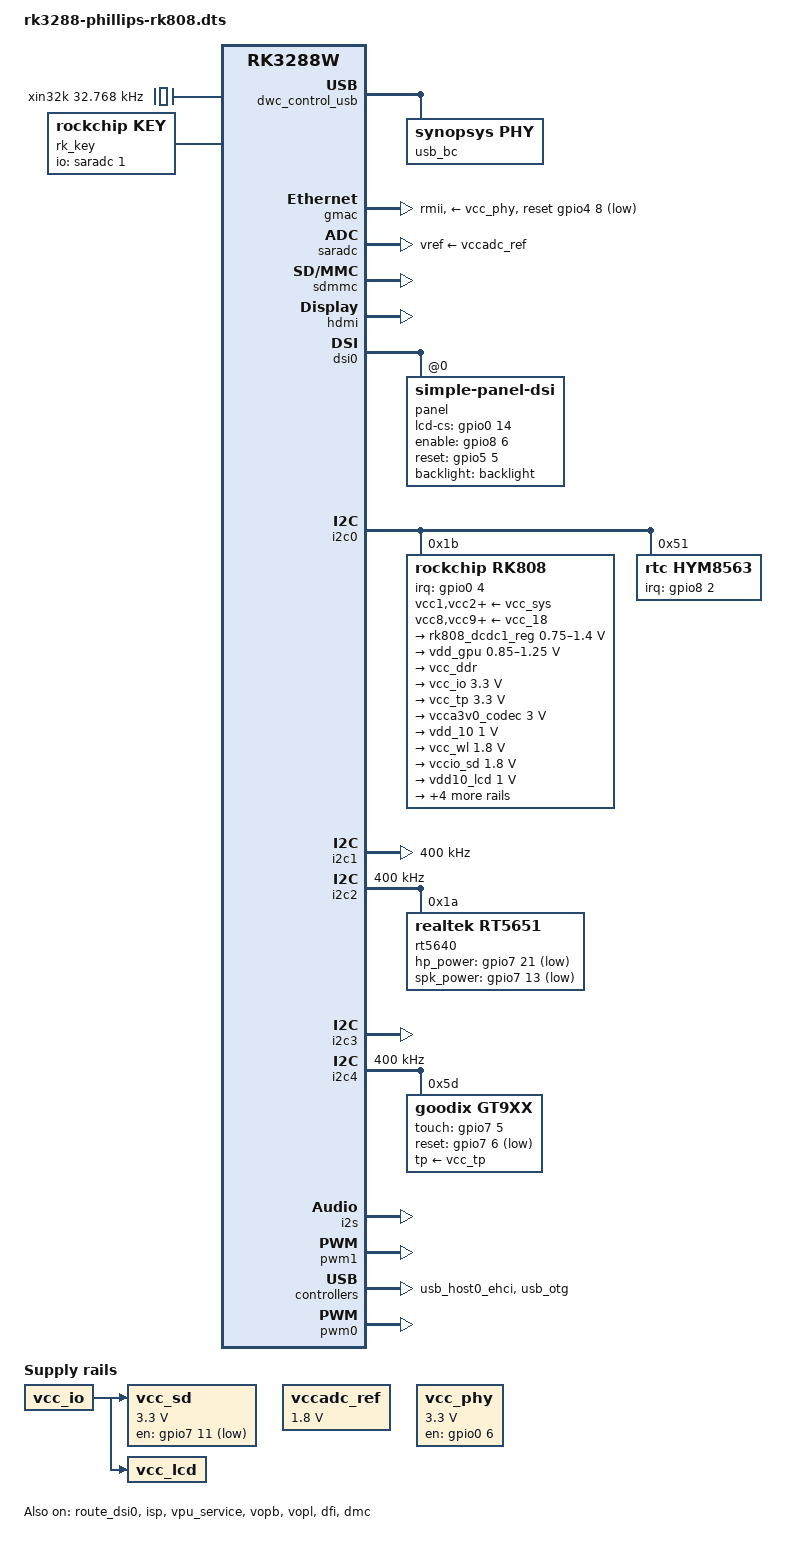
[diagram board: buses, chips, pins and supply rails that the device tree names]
/*
 * Copyright (c) 2017 Fuzhou Rockchip Electronics Co., Ltd
 *
 * This file is dual-licensed: you can use it either under the terms
 * of the GPL or the X11 license, at your option. Note that this dual
 * licensing only applies to this file, and not this project as a
 * whole.
 *
 *  a) This file is free software; you can redistribute it and/or
 *     modify it under the terms of the GNU General Public License as
 *     published by the Free Software Foundation; either version 2 of the
 *     License, or (at your option) any later version.
 *
 *     This file is distributed in the hope that it will be useful,
 *     but WITHOUT ANY WARRANTY; without even the implied warranty of
 *     MERCHANTABILITY or FITNESS FOR A PARTICULAR PURPOSE.  See the
 *     GNU General Public License for more details.
 *
 * Or, alternatively,
 *
 *  b) Permission is hereby granted, free of charge, to any person
 *     obtaining a copy of this software and associated documentation
 *     files (the "Software"), to deal in the Software without
 *     restriction, including without limitation the rights to use,
 *     copy, modify, merge, publish, distribute, sublicense, and/or
 *     sell copies of the Software, and to permit persons to whom the
 *     Software is furnished to do so, subject to the following
 *     conditions:
 *
 *     The above copyright notice and this permission notice shall be
 *     included in all copies or substantial portions of the Software.
 *
 *     THE SOFTWARE IS PROVIDED "AS IS", WITHOUT WARRANTY OF ANY KIND,
 *     EXPRESS OR IMPLIED, INCLUDING BUT NOT LIMITED TO THE WARRANTIES
 *     OF MERCHANTABILITY, FITNESS FOR A PARTICULAR PURPOSE AND
 *     NONINFRINGEMENT. IN NO EVENT SHALL THE AUTHORS OR COPYRIGHT
 *     HOLDERS BE LIABLE FOR ANY CLAIM, DAMAGES OR OTHER LIABILITY,
 *     WHETHER IN AN ACTION OF CONTRACT, TORT OR OTHERWISE, ARISING
 *     FROM, OUT OF OR IN CONNECTION WITH THE SOFTWARE OR THE USE OR
 *     OTHER DEALINGS IN THE SOFTWARE.
 */

/dts-v1/;
#include <dt-bindings/input/input.h>
#include <dt-bindings/pwm/pwm.h>
#include <dt-bindings/display/media-bus-format.h>
#include <dt-bindings/gpio/gpio.h>
#include <dt-bindings/power/rk3288-power.h>
#include "rk3288-phillips.dtsi"
#include "rk3288-android.dtsi"

/ {
	compatible = "rockchip,rk3288-tpv-eposter-rk808", "rockchip,rk3288w";

	chosen {
		bootargs = "earlycon=uart8250,mmio32,0xff690000 vmalloc=496M";
	};

	sdio_pwrseq: sdio-pwrseq {
		clocks = <&rk808 1>;
	};

	wireless-bluetooth {
		clocks = <&rk808 1>;
		clock-names = "ext_clock";
	};

	/delete-node/ sdmmc-regulator;
	vcc_sd: sdmmc-regulator {
		compatible = "regulator-fixed";
		gpio = <&gpio7 11 GPIO_ACTIVE_LOW>;
		pinctrl-names = "default";
		pinctrl-0 = <&sdmmc_pwr>;
		regulator-name = "vcc_sd";
		regulator-min-microvolt = <3300000>;
		regulator-max-microvolt = <3300000>;
		startup-delay-us = <100000>;
		vin-supply = <&vcc_io>;
	};

	vcc_lcd: vcc-lcd {
		compatible = "regulator-fixed";
		regulator-boot-on;
		enable-active-high;
		pinctrl-names = "default";
		pinctrl-0 = <&lcd_en>;
		regulator-name = "vcc_lcd";
		vin-supply = <&vcc_io>;
	};

	sound: sound {
		status = "okay";
		compatible = "simple-audio-card";
		simple-audio-card,format = "i2s";
		simple-audio-card,name = "rockchip,rt5651-codec";
		simple-audio-card,mclk-fs = <512>;
		simple-audio-card,widgets =
			"Microphone", "Mic Jack",
			"Headphone", "Headphone Jack",
			"Speaker", "Speaker";
		simple-audio-card,routing =
			"Mic Jack", "MICBIAS1",
			"IN1P", "Mic Jack",
			"Headphone Jack", "HPOL",
			"Headphone Jack", "HPOR",
			"Speaker", "LOUTL",
			"Speaker", "LOUTR";

		simple-audio-card,dai-link@0 {
			format = "i2s";
			cpu {
				sound-dai = <&i2s>;
			};

			codec {
				sound-dai = <&rt5651>;
			};
		};

		simple-audio-card,dai-link@1 {
			format = "i2s";
			cpu {
				sound-dai = <&i2s>;
			};

			codec {
				sound-dai = <&hdmi>;
			};
		};
	};

	spdif-sound {
		status = "okay";
		compatible = "simple-audio-card";
		simple-audio-card,name = "ROCKCHIP,SPDIF";
		simple-audio-card,cpu {
			sound-dai = <&spdif>;
		};
		simple-audio-card,codec {
			sound-dai = <&spdif_out>;
		};
	};

	backlight: backlight {
		pwms = <&pwm1 0 1000000 0>;
	};

	reserved-memory {
		ramoops_mem: ramoops@00000000 {
			reg = <0x0 0x8000000 0x0 0xF0000>;
		};

		drm_logo: drm-logo@00000000 {
			compatible = "rockchip,drm-logo";
			reg = <0x0 0x0 0x0 0x0>;
		};
	};

	ramoops {
		compatible = "ramoops";
		record-size = <0x0 0x20000>;
		console-size = <0x0 0x80000>;
		ftrace-size = <0x0 0x00000>;
		pmsg-size = <0x0 0x50000>;
		memory-region = <&ramoops_mem>;
	};

	fiq-debugger {
		compatible = "rockchip,fiq-debugger";
		interrupts = <GIC_SPI 153 IRQ_TYPE_LEVEL_HIGH>;
		rockchip,serial-id = <2>;
		rockchip,wake-irq = <0>;
		/* If enable uart uses irq instead of fiq */
		rockchip,irq-mode-enable = <1>;
		rockchip,baudrate = <115200>;  /* Only 115200 and 1500000 */
		pinctrl-names = "default";
		pinctrl-0 = <&uart2_xfer>;
	};

	xin32k: xin32k {
		compatible = "fixed-clock";
		clock-frequency = <32768>;
		clock-output-names = "xin32k";
		#clock-cells = <0>;
	};

	vccadc_ref: vccadc-ref {
		compatible = "regulator-fixed";
		regulator-name = "vcc1v8_sys";
		regulator-always-on;
		regulator-boot-on;
		regulator-min-microvolt = <1800000>;
		regulator-max-microvolt = <1800000>;
	};

	/* This turns on USB vbus for both host0 (ehci) and host1 (dwc2) */

	vcc_phy: vcc-phy-regulator {
		compatible = "regulator-fixed";
		enable-active-high;
		gpio = <&gpio0 6 GPIO_ACTIVE_HIGH>;
		pinctrl-names = "default";
		pinctrl-0 = <&eth_phy_pwr>;
		regulator-name = "vcc_phy";
		regulator-min-microvolt = <3300000>;
		regulator-max-microvolt = <3300000>;
		regulator-always-on;
		regulator-boot-on;
	};

	/*
	 * NOTE: vcc_sd isn't hooked up on v1.0 boards where power comes from
	 * vcc_io directly.  Those boards won't be able to power cycle SD cards
	 * but it shouldn't hurt to toggle this pin there anyway.
	 */

	wireless-bluetooth {
		clocks = <&hym8563>;
		clock-names = "ext_clock";
	};

	psci {
		compatible = "arm,psci-1.0";
		method = "smc";
	};

	rk_key: rockchip-key {
		compatible = "rockchip,key";
		status = "okay";

		io-channels = <&saradc 1>;

		vol-up-key {
			linux,code = <115>;
			label = "volume up";
			rockchip,adc_value = <1>;
		};

		vol-down-key {
			linux,code = <114>;
			label = "volume down";
			rockchip,adc_value = <170>;
		};

		power-key {
			gpios = <&gpio0 5 GPIO_ACTIVE_LOW>;
			linux,code = <116>;
			pinctrl-names = "default";
			pinctrl-0 = <&pwrbtn>;
			label = "power";
			gpio-key,wakeup;
		};

		menu-key {
			linux,code = <59>;
			label = "menu";
			rockchip,adc_value = <355>;
		};

		home-key {
			linux,code = <102>;
			label = "home";
			rockchip,adc_value = <746>;
		};

		back-key {
			linux,code = <158>;
			label = "back";
			rockchip,adc_value = <560>;
		};

		camera-key {
			linux,code = <212>;
			label = "camera";
			rockchip,adc_value = <450>;
		};
	};

	dwc_control_usb: dwc-control-usb@ff770284 {
		compatible = "rockchip,rk3288-dwc-control-usb";
		status = "okay";
		reg = <0x0 0xff770284 0x0 0x04>, <0x0 0xff770288 0x0 0x04>,
			<0x0 0xff7702cc 0x0 0x04>, <0x0 0xff7702d4 0x0 0x04>,
			<0x0 0xff770320 0x0 0x14>, <0x0 0xff770334 0x0 0x14>,
			<0x0 0xff770348 0x0 0x10>, <0x0 0xff770358 0x0 0x08>,
			<0x0 0xff770360 0x0 0x08>;
		reg-names = "GRF_SOC_STATUS1" ,"GRF_SOC_STATUS2",
					"GRF_SOC_STATUS19", "GRF_SOC_STATUS21",
					"GRF_UOC0_BASE", "GRF_UOC1_BASE",
					"GRF_UOC2_BASE", "GRF_UOC3_BASE",
					"GRF_UOC4_BASE";
		interrupts = <GIC_SPI 93 IRQ_TYPE_LEVEL_HIGH>,
					<GIC_SPI 94 IRQ_TYPE_LEVEL_HIGH>,
					<GIC_SPI 95 IRQ_TYPE_LEVEL_HIGH>,
					<GIC_SPI 96 IRQ_TYPE_LEVEL_HIGH>,
					<GIC_SPI 97 IRQ_TYPE_LEVEL_HIGH>;
		interrupt-names = "otg_id", "otg_bvalid",
					"otg_linestate", "host0_linestate",
					"host1_linestate";
		clocks = <&cru HCLK_USB_PERI>;
		clock-names = "hclk_usb_peri";

		otg_drv_gpio = <&gpio0 12 GPIO_ACTIVE_HIGH>;
		rockchip,remote_wakeup;
		rockchip,usb_irq_wakeup;

		usb_bc {
			compatible = "synopsys,phy";
			rk_usb,bvalid     = <0x288 14 1>;
			rk_usb,iddig      = <0x288 17 1>;
			rk_usb,dcdenb     = <0x328 14 1>;
			rk_usb,vdatsrcenb = <0x328  7 1>;
			rk_usb,vdatdetenb = <0x328  6 1>;
			rk_usb,chrgsel    = <0x328  5 1>;
			rk_usb,chgdet     = <0x2cc 23 1>;
			rk_usb,fsvminus   = <0x2cc 25 1>;
			rk_usb,fsvplus    = <0x2cc 24 1>;
		};
	};

	/delete-node/ usb-otg-regulator;

};

&ir{
	/delete-property/ pinctrl-0;
};

&gmac {
	phy-supply = <&vcc_phy>;
	phy-mode = "rmii";
	pinctrl-0 = <&rmii_pins>;
	snps,reset-gpio = <&gpio4 8 GPIO_ACTIVE_LOW>;
	snps,reset-active-low;
	snps,reset-delays-us = <0 10000 50000>;
	max-speed = <100>;
	status = "okay";
};

&saradc {
	vref-supply = <&vccadc_ref>;
	status = "okay";
};

&sdmmc {
	supports-sd;
	max-frequency = <150000000>;
	sd-uhs-sdr12;
	sd-uhs-sdr25;
	sd-uhs-sdr50;
	sd-uhs-sdr104;
	pinctrl-0 = <&sdmmc_clk &sdmmc_cmd &sdmmc_cd &sdmmc_bus4>;
	status = "okay";
};

&hdmi {
	status = "okay";
};

&edp {
	status = "disabled";
};

&edp_panel {
	status = "disabled";
};

&route_edp {
	status = "disabled";
};

&dsi0 {
	status = "okay";
	rockchip,grf = <&grf>;
	rockchip,gpios = <&gpio7 13 GPIO_ACTIVE_LOW>;
	power-domains = <&power RK3288_PD_VIO>;
	pinctrl-names = "default";
	pinctrl-0 = <&dsi_panel_pins>;
	#address-cells = <1>;
	#size-cells = <0>;

	panel@0 {
		compatible = "simple-panel-dsi";
		reg = <0>;
		backlight = <&backlight>;
		lcd-cs-gpios = <&gpio0 14 GPIO_ACTIVE_HIGH>;
		cs-gpios = <&gpio8 7 GPIO_ACTIVE_LOW>;
		enable-gpios = <&gpio8 6 GPIO_ACTIVE_HIGH>;
		reset-gpios = <&gpio5 5 GPIO_ACTIVE_HIGH>;
		dsi,flags = <0xa03>;
		dsi,format = <0>;
		dsi,lanes = <4>;
		reset-delay-ms = <20>;
		init-delay-ms = <120>;
		enable-delay-ms = <120>;
		prepare-delay-ms = <20>;
		unprepare-delay-ms = <120>;
		disable-delay-ms = <120>;
		status = "okay";

		panel-init-sequence = [15 00 02 e0 00 15 00 02 e1 93 15 00 02 e2 65 15 00 02 e3 f8 15 00 02 80 03 15 00 02 e0 01 15 00 02 01 67 15 00 02 17 00 15 00 02 18 bf 15 00 02 19 01 15 00 02 1a 00 15 00 02 1b bf 15 00 02 1c 01 15 00 02 0c 74 15 00 02 1f 70 15 00 02 20 2d 15 00 02 21 2d 15 00 02 22 7e 15 00 02 0c 74 15 00 02 35 28 15 00 02 37 19 15 00 02 38 05 15 00 02 39 00 15 00 02 3a 01 15 00 02 3c 7c 15 00 02 3d ff 15 00 02 3e ff 15 00 02 3f 7f 15 00 02 40 06 15 00 02 41 a0 15 00 02 43 1e 15 00 02 44 0b 15 00 02 45 28 15 00 02 55 01 15 00 02 57 a9 15 00 02 59 0a 15 00 02 5a 2e 15 00 02 5b 1a 15 00 02 5c 15 15 00 02 5d 7f 15 00 02 5e 64 15 00 02 5f 53 15 00 02 60 47 15 00 02 61 43 15 00 02 62 33 15 00 02 63 37 15 00 02 64 21 15 00 02 65 39 15 00 02 66 37 15 00 02 67 34 15 00 02 68 50 15 00 02 69 3d 15 00 02 6a 44 15 00 02 6b 36 15 00 02 6c 34 15 00 02 6d 25 15 00 02 6e 15 15 00 02 6f 02 15 00 02 70 7f 15 00 02 71 64 15 00 02 72 53 15 00 02 73 47 15 00 02 74 43 15 00 02 75 33 15 00 02 76 37 15 00 02 77 21 15 00 02 78 39 15 00 02 79 37 15 00 02 7a 34 15 00 02 7b 50 15 00 02 7c 3d 15 00 02 7d 44 15 00 02 7e 36 15 00 02 7f 34 15 00 02 80 25 15 00 02 81 15 15 00 02 82 02 15 00 02 e0 02 15 00 02 00 52 15 00 02 01 55 15 00 02 02 55 15 00 02 03 50 15 00 02 04 77 15 00 02 05 57 15 00 02 06 55 15 00 02 07 4e 15 00 02 08 4c 15 00 02 09 5f 15 00 02 0a 4a 15 00 02 0b 48 15 00 02 0c 55 15 00 02 0d 46 15 00 02 0e 44 15 00 02 0f 40 15 00 02 10 55 15 00 02 11 55 15 00 02 12 55 15 00 02 13 55 15 00 02 14 55 15 00 02 15 55 15 00 02 16 53 15 00 02 17 55 15 00 02 18 55 15 00 02 19 51 15 00 02 1a 77 15 00 02 1b 57 15 00 02 1c 55 15 00 02 1d 4f 15 00 02 1e 4d 15 00 02 1f 5f 15 00 02 20 4b 15 00 02 21 49 15 00 02 22 55 15 00 02 23 47 15 00 02 24 45 15 00 02 25 41 15 00 02 26 55 15 00 02 27 55 15 00 02 28 55 15 00 02 29 55 15 00 02 2a 55 15 00 02 2b 55 15 00 02 2c 13 15 00 02 2d 15 15 00 02 2e 15 15 00 02 2f 01 15 00 02 30 37 15 00 02 31 17 15 00 02 32 15 15 00 02 33 0d 15 00 02 34 0f 15 00 02 35 15 15 00 02 36 05 15 00 02 37 07 15 00 02 38 15 15 00 02 39 09 15 00 02 3a 0b 15 00 02 3b 11 15 00 02 3c 15 15 00 02 3d 15 15 00 02 3e 15 15 00 02 3f 15 15 00 02 40 15 15 00 02 41 15 15 00 02 42 12 15 00 02 43 15 15 00 02 44 15 15 00 02 45 00 15 00 02 46 37 15 00 02 47 17 15 00 02 48 15 15 00 02 49 0c 15 00 02 4a 0e 15 00 02 4b 15 15 00 02 4c 04 15 00 02 4d 06 15 00 02 4e 15 15 00 02 4f 08 15 00 02 50 0a 15 00 02 51 10 15 00 02 52 15 15 00 02 53 15 15 00 02 54 15 15 00 02 55 15 15 00 02 56 15 15 00 02 57 15 15 00 02 58 40 15 00 02 5b 10 15 00 02 5c 06 15 00 02 5d 40 15 00 02 5e 00 15 00 02 5f 00 15 00 02 60 40 15 00 02 61 03 15 00 02 62 04 15 00 02 63 6c 15 00 02 64 6c 15 00 02 65 75 15 00 02 66 08 15 00 02 67 b4 15 00 02 68 08 15 00 02 69 6c 15 00 02 6a 6c 15 00 02 6b 0c 15 00 02 6d 00 15 00 02 6e 00 15 00 02 6f 88 15 00 02 75 bb 15 00 02 76 00 15 00 02 77 05 15 00 02 78 2a 15 00 02 e0 04 15 00 02 09 11 15 00 02 0e 48 15 00 02 2b 2b 15 00 02 2d 03 15 00 02 2e 44 15 00 02 e0 05 15 00 02 12 72 15 00 02 e0 00 15 00 02 e6 02 15 00 02 e7 0c 05 00 01 11 05 78 01 29];

		panel-init-sequence-second = [39 00 04 ff 98 81 03 15 00 02 01 00 15 00 02 02 00 15 00 02 03 53 15 00 02 04 53 15 00 02 05 13 15 00 02 06 04 15 00 02 07 02 15 00 02 08 02 15 00 02 09 00 15 00 02 0a 00 15 00 02 0b 00 15 00 02 0c 00 15 00 02 0d 00 15 00 02 0e 00 15 00 02 0f 00 15 00 02 10 00 15 00 02 11 00 15 00 02 12 00 15 00 02 13 00 15 00 02 14 00 15 00 02 15 05 15 00 02 16 05 15 00 02 17 03 15 00 02 18 03 15 00 02 19 00 15 00 02 1a 00 15 00 02 1b 00 15 00 02 1c 00 15 00 02 1d 00 15 00 02 1e c0 15 00 02 1f 00 15 00 02 20 02 15 00 02 21 09 15 00 02 22 00 15 00 02 23 00 15 00 02 24 00 15 00 02 25 00 15 00 02 26 00 15 00 02 27 00 15 00 02 28 55 15 00 02 29 03 15 00 02 2a 00 15 00 02 2b 00 15 00 02 2c 00 15 00 02 2d 00 15 00 02 2e 00 15 00 02 2f 00 15 00 02 30 00 15 00 02 31 00 15 00 02 32 00 15 00 02 33 00 15 00 02 34 00 15 00 02 35 00 15 00 02 36 00 15 00 02 37 00 15 00 02 38 3c 15 00 02 39 00 15 00 02 3a 00 15 00 02 3b 00 15 00 02 3c 00 15 00 02 3d 00 15 00 02 3e 00 15 00 02 3f 00 15 00 02 40 00 15 00 02 41 00 15 00 02 42 00 15 00 02 43 00 15 00 02 44 00 15 00 02 50 01 15 00 02 51 23 15 00 02 52 45 15 00 02 53 67 15 00 02 54 89 15 00 02 55 ab 15 00 02 56 01 15 00 02 57 23 15 00 02 58 45 15 00 02 59 67 15 00 02 5a 89 15 00 02 5b ab 15 00 02 5c cd 15 00 02 5d ef 15 00 02 5e 01 15 00 02 5f 0a 15 00 02 60 02 15 00 02 61 02 15 00 02 62 08 15 00 02 63 15 15 00 02 64 14 15 00 02 65 02 15 00 02 66 11 15 00 02 67 10 15 00 02 68 02 15 00 02 69 0f 15 00 02 6a 0e 15 00 02 6b 02 15 00 02 6c 0d 15 00 02 6d 0c 15 00 02 6e 06 15 00 02 6f 02 15 00 02 70 02 15 00 02 71 02 15 00 02 72 02 15 00 02 73 02 15 00 02 74 02 15 00 02 75 0a 15 00 02 76 02 15 00 02 77 02 15 00 02 78 06 15 00 02 79 15 15 00 02 7a 14 15 00 02 7b 02 15 00 02 7c 10 15 00 02 7d 11 15 00 02 7e 02 15 00 02 7f 0c 15 00 02 80 0d 15 00 02 81 02 15 00 02 82 0e 15 00 02 83 0f 15 00 02 84 08 15 00 02 85 02 15 00 02 86 02 15 00 02 87 02 15 00 02 88 02 15 00 02 89 02 15 00 02 8a 02 39 00 04 ff 98 81 04 15 00 02 6c 15 15 00 02 6e 30 15 00 02 6f 35 15 00 02 8d 1f 15 00 02 3a 24 15 00 02 35 1f 15 00 02 87 ba 15 00 02 26 76 15 00 02 b2 d1 15 00 02 b5 07 15 00 02 88 0b 15 00 02 21 30 39 00 04 ff 98 81 01 15 00 02 22 0a 15 00 02 31 09 15 00 02 40 33 15 00 02 42 44 15 00 02 53 2e 15 00 02 55 88 15 00 02 50 95 15 00 02 51 95 15 00 02 60 09 15 00 02 2e c8 15 00 02 35 07 15 00 02 a0 0f 15 00 02 a1 1d 15 00 02 a2 2a 15 00 02 a3 14 15 00 02 a4 16 15 00 02 a5 29 15 00 02 a6 1d 15 00 02 a7 1e 15 00 02 a8 83 15 00 02 a9 1e 15 00 02 aa 2b 15 00 02 ab 6f 15 00 02 ac 18 15 00 02 ad 17 15 00 02 ae 4c 15 00 02 af 22 15 00 02 b0 27 15 00 02 b1 4d 15 00 02 b2 5c 15 00 02 b3 2b 15 00 02 c0 0f 15 00 02 c1 1d 15 00 02 c2 2a 15 00 02 c3 14 15 00 02 c4 16 15 00 02 c5 29 15 00 02 c6 1d 15 00 02 c7 1e 15 00 02 c8 83 15 00 02 c9 1e 15 00 02 ca 2b 15 00 02 cb 6f 15 00 02 cc 18 15 00 02 cd 17 15 00 02 ce 4c 15 00 02 cf 22 15 00 02 d0 27 15 00 02 d1 4d 15 00 02 d2 5c 15 00 02 d3 2b 39 00 04 ff 98 81 00 15 00 02 35 00 05 78 01 11 05 14 01 29];

		panel-exit-sequence = [05 05 01 28 05 78 01 10];

		display-timings {
			native-mode = <&timing0>;

			timing0: timing0 {
				clock-frequency = <72000000>;
				hactive = <800>;
				vactive = <1280>;
				hback-porch = <20>;
				hfront-porch = <62>;
				hsync-len = <20>;
				vback-porch = <8>;
				vfront-porch = <30>;
				vsync-len = <4>;
				hsync-active = <0>;
				vsync-active = <0>;
				de-active = <0>;
				pixelclk-active = <0>;
			};
		};
	};
};

&route_dsi0 {
	status = "okay";
	connect = <&vopb_out_dsi0>;
};

&i2c0{
	/delete-node/ syr828@41;
	/delete-node/ act8846@5a;
};

&i2c0 {
	rk808: pmic@1b {
		compatible = "rockchip,rk808";
		reg = <0x1b>;
		interrupt-parent = <&gpio0>;
		interrupts = <4 IRQ_TYPE_LEVEL_LOW>;
		pinctrl-names = "default";
		pinctrl-0 = <&pmic_int &global_pwroff>;
		//pinctrl-0 = <&pmic_vsel>, <&pwr_hold>;
		rockchip,system-power-controller;
		wakeup-source;
		#clock-cells = <1>;
		clock-output-names = "rk808-clkout1", "rk808-clkout2";
		vcc1-supply = <&vcc_sys>;
		vcc2-supply = <&vcc_sys>;
		vcc3-supply = <&vcc_sys>;
		vcc4-supply = <&vcc_sys>;
		vcc6-supply = <&vcc_sys>;
		vcc7-supply = <&vcc_sys>;
		vcc8-supply = <&vcc_18>;
		vcc9-supply = <&vcc_18>;
		vcc11-supply = <&vcc_sys>;
		vcc12-supply = <&vcc_18>;
		vddio-supply = <&vcc_18>;

		regulators {
			rk808_dcdc1_reg: DCDC_REG1 {
				regulator-always-on;
				regulator-boot-on;
				regulator-min-microvolt = <750000>;
				regulator-max-microvolt = <1400000>;
				regulator-name = "vdd_arm";
				regulator-state-mem {
					regulator-off-in-suspend;
				};
			};

			vdd_gpu: DCDC_REG2 {
				regulator-always-on;
				regulator-boot-on;
				regulator-min-microvolt = <850000>;
				regulator-max-microvolt = <1250000>;
				regulator-name = "vdd_gpu";
				regulator-ramp-delay = <6000>;
				regulator-state-mem {
					regulator-off-in-suspend;
				};
			};

			vcc_ddr: DCDC_REG3 {
				regulator-always-on;
				regulator-boot-on;
				regulator-name = "vcc_ddr";
				regulator-state-mem {
					regulator-on-in-suspend;
				};
			};

			vcc_io: DCDC_REG4 {
				regulator-always-on;
				regulator-boot-on;
				regulator-min-microvolt = <3300000>;
				regulator-max-microvolt = <3300000>;
				regulator-name = "vcc_io";
				regulator-state-mem {
					regulator-on-in-suspend;
					regulator-suspend-microvolt = <3300000>;
				};
			};

			vcc_tp: LDO_REG1 {
				regulator-always-on;
				regulator-boot-on;
				regulator-min-microvolt = <3300000>;
				regulator-max-microvolt = <3300000>;
				regulator-name = "vcc_tp";
				regulator-state-mem {
					regulator-off-in-suspend;
				};
			};

			vcca3v0_codec: LDO_REG2 {
				regulator-always-on;
				regulator-boot-on;
				regulator-min-microvolt = <3000000>;
				regulator-max-microvolt = <3000000>;
				regulator-name = "vcca3v0_codec";
				regulator-state-mem {
					regulator-on-in-suspend;
					regulator-suspend-microvolt = <3000000>;
				};
			};

			vdd_10: LDO_REG3 {
				regulator-always-on;
				regulator-boot-on;
				regulator-min-microvolt = <1000000>;
				regulator-max-microvolt = <1000000>;
				regulator-name = "vdd_10";
				regulator-state-mem {
					regulator-on-in-suspend;
					regulator-suspend-microvolt = <1000000>;
				};
			};

			vcc_wl: LDO_REG4 {
				regulator-always-on;
				regulator-boot-on;
				regulator-min-microvolt = <1800000>;
				regulator-max-microvolt = <1800000>;
				regulator-name = "vcc_wl";
				regulator-state-mem {
					regulator-on-in-suspend;
				};
			};

			vccio_sd: LDO_REG5 {
				regulator-always-on;
				regulator-boot-on;
				regulator-min-microvolt = <1800000>;
				regulator-max-microvolt = <1800000>;
				regulator-name = "vccio_sd";
				regulator-state-mem {
					regulator-off-in-suspend;
				};
			};

			vdd10_lcd: LDO_REG6 {
				regulator-always-on;
				regulator-boot-on;
				regulator-min-microvolt = <1000000>;
				regulator-max-microvolt = <1000000>;
				regulator-name = "vdd10_lcd";
				regulator-state-mem {
					regulator-off-in-suspend;
				};
			};

			vcc_18: LDO_REG7 {
				regulator-always-on;
				regulator-boot-on;
				regulator-min-microvolt = <1800000>;
				regulator-max-microvolt = <1800000>;
				regulator-name = "vcc_18";
				regulator-state-mem {
					regulator-on-in-suspend;
					regulator-suspend-microvolt = <1800000>;
				};
			};

			vcc_lan: vcc18_lcd: LDO_REG8 {
				regulator-always-on;
				regulator-boot-on;
				regulator-min-microvolt = <1800000>;
				regulator-max-microvolt = <1800000>;
				regulator-name = "vcc18_lcd";
				regulator-state-mem {
					regulator-off-in-suspend;
				};
			};

			vccio_wl: SWITCH_REG1 {
				regulator-always-on;
				regulator-boot-on;
				regulator-name = "vcc_18";
				regulator-min-microvolt = <1800000>;
				regulator-max-microvolt = <1800000>;
				regulator-state-mem {
					regulator-on-in-suspend;
				};
			};

			rk808_ldo10_reg: SWITCH_REG2 {
				regulator-always-on;
				regulator-boot-on;
				regulator-name = "vcc_sd";
				regulator-min-microvolt = <3300000>;
				regulator-max-microvolt = <3300000>;
				regulator-state-mem {
					regulator-off-in-suspend;
				};
			};
		};
	};

	hym8563: hym8563@51 {
		compatible = "rtc,hym8563";
		reg = <0x51>;
		irq_gpio = <&gpio8 2 IRQ_TYPE_EDGE_FALLING>;
		pinctrl-names = "default";
		pinctrl-0 = <&rtc_int>;
		#clock-cells = <0>;
	};

	CW2015@62 {
		status = "disabled";
		compatible = "cw201x";
		reg = <0x62>;
	};
};

&i2c1 {
	status = "okay";
	clock-frequency = <400000>;
};

&i2c2 {
	status = "okay";
	clock-frequency = <400000>;

	rt5640: rt5651: rt5651@1a {
		#sound-dai-cells = <0>;
		compatible = "realtek,rt5651";
		reg = <0x1a>;
		hp_power = <&gpio7 21 GPIO_ACTIVE_LOW>;
		spk_power = <&gpio7 13 GPIO_ACTIVE_LOW>;
		clocks = <&cru SCLK_I2S0_OUT>;
		clock-names = "mclk";
		pinctrl-names = "default";
		pinctrl-0 = <&i2s0_mclk &rt5651_gpio>;
	};
};

&i2c3 {
	status = "okay";
};

&i2c4 {
	status = "okay";
	clock-frequency = <400000>;

	gsl3673@40 {
		compatible = "GSL,GSL3673";
		reg = <0x40>;
		screen_max_x = <1536>;
		screen_max_y = <2048>;
		status = "disabled";
	};

	gt9xx@5d {
		compatible = "goodix,gt9xx";
		reg = <0x5d>;
		touch-gpio = <&gpio7 5 IRQ_TYPE_EDGE_RISING>;
		reset-gpio = <&gpio7 6 GPIO_ACTIVE_LOW>;
		max-x = <800>;
		max-y = <1280>;
		tp-size = <911>;
		tp-supply = <&vcc_tp>;
		pinctrl-names = "default";
		pinctrl-0 = <&gt9xx_gpio>;
		status = "okay";
	};
};

&i2s {
	#sound-dai-cells = <0>;
	status = "okay";
};

&pwm1 {
	status = "okay";
};

&isp {
	/delete-property/ rockchip,gpios;
	status = "okay";
};

&isp_mmu {
	status = "okay";
};

&vpu_service {
	status = "okay";
};

&usb_host0_ehci {
	rockchip-relinquish-port;
	status = "okay";
};

&vopb {
	status = "okay";
};

&vopl {
	status = "okay";
};

&cpu0 {
	enable-method = "psci";
};

&cpu1 {
	enable-method = "psci";
};

&cpu2 {
	enable-method = "psci";
};

&cpu3 {
	enable-method = "psci";
};

&dfi {
	status = "okay";
};

&dmac_bus_s {
	/* change to non-secure dmac */
	reg = <0x0 0xff600000 0x0 0x4000>;
};

&dmc {
	center-supply = <&vdd_gpu>;
	status = "okay";
};

&efuse {
	compatible = "rockchip,rk3288-secure-efuse";
};

&rga {
	compatible = "rockchip,rga2";
	clocks = <&cru ACLK_RGA>, <&cru HCLK_RGA>, <&cru SCLK_RGA>;
	clock-names = "aclk_rga", "hclk_rga", "clk_rga";
};

&rockchip_suspend {
	status = "okay";
};
&usb_otg {
	compatible = "rockchip,rk3288_usb20_otg";
	clocks = <&usbphy0>, <&cru HCLK_OTG0>;
	clock-names = "clk_usbphy0", "hclk_usb0";
	resets = <&cru SRST_USBOTG_AHB>,
		 <&cru SRST_USBOTG_PHY>,
		 <&cru SRST_USBOTG_CON>;
	reset-names = "otg_ahb", "otg_phy", "otg_controller";
	/*0 - Normal, 1 - Force Host, 2 - Force Device*/
	rockchip,usb-mode = <0>;
	status = "okay";
};

&pwm0 {
	status = "okay";
	compatible = "rockchip,rk3288-pwm";
	pinctrl-names = "default";
	pinctrl-0 = <&pwm0_pin>;
};

&tsadc {
	rockchip,hw-tshut-polarity = <0>; /* tshut polarity 0:LOW 1:HIGH */
};

&pinctrl {

	/* sata:gpio0 c1  */
	init-gpios = <&gpio0 17 GPIO_ACTIVE_LOW>;

	pcfg_output_high: pcfg-output-high {
		output-high;
	};

	pcfg_output_low: pcfg-output-low {
		output-low;
	};

	pmic {
		pmic_int: pmic-int {
			rockchip,pins = <RK_GPIO0 4 RK_FUNC_GPIO &pcfg_pull_up>;
		};
	};

	eth_phy {
		eth_phy_pwr: eth-phy-pwr {
			rockchip,pins = <0 6 RK_FUNC_GPIO &pcfg_pull_none>;
		};
	};

	lcd {
		lcd_cs: lcd-cs {
			rockchip,pins = <7 4 RK_FUNC_GPIO &pcfg_pull_none>;
		};

		lcd_en: lcd-en  {
			rockchip,pins = <7 3 RK_FUNC_GPIO &pcfg_pull_none>;
		};
	};

	act8846 {
		pmic_vsel: pmic-vsel {
			rockchip,pins = <7 14 RK_FUNC_GPIO &pcfg_output_low>;
		};

		pwr_hold: pwr-hold {
			rockchip,pins = <0 1 RK_FUNC_GPIO &pcfg_output_high>;
		};
	};

	backlight {
		bl_en: bl-en {
			rockchip,pins = <7 2 RK_FUNC_GPIO &pcfg_pull_none>;
		};
	};

	buttons {
		pwrbtn: pwrbtn {
			rockchip,pins = <0 5 RK_FUNC_GPIO &pcfg_pull_up>;
		};
	};

	hdmiin {
		hdmiin_gpios: hdmiin_gpios {
			rockchip,pins =
				<7 5 RK_FUNC_GPIO &pcfg_pull_none>,
				<7 21 RK_FUNC_GPIO &pcfg_pull_none>,
				<8 8 RK_FUNC_GPIO &pcfg_pull_none>,
				<8 9 RK_FUNC_GPIO &pcfg_pull_none>;
		};
	};

	gt9xx {
		gt9xx_gpio: gt9xx-gpio {
			rockchip,pins = <7 5 RK_FUNC_GPIO 0x91>,
					<7 6 RK_FUNC_GPIO 0x91>;
		};
	};

	rt5651 {
		rt5651_gpio: rt5651-gpio {
			rockchip,pins = <7 13 RK_FUNC_GPIO 0x91>,
					<7 21 RK_FUNC_GPIO 0x91>;
		};
	};

	dsi_panel {
		dsi_panel_pins: dsi-panel-pins {
			rockchip,pins = <0 14 RK_FUNC_GPIO 0x91>,
					<8 7 RK_FUNC_GPIO 0x91>,
					<8 6 RK_FUNC_GPIO 0x91>,
					<5 5 RK_FUNC_GPIO 0x91>;
		};
	};
};
